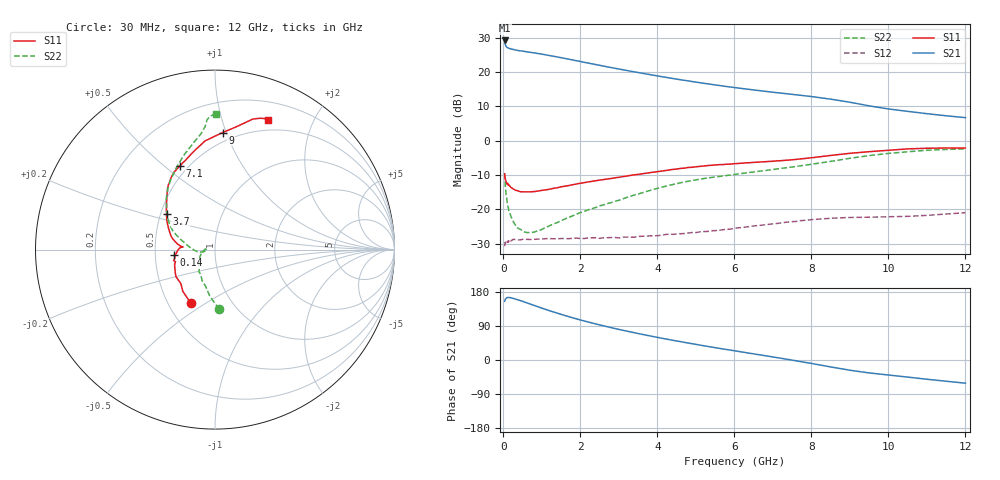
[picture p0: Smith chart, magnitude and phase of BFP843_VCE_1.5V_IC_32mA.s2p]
! Infineon Technologies  Discrete & RF Semiconductors
! BFP843
! VCE =  1.5 V,  IC =  32 mA
! Common Emitter S-Parameters:  Aug 2013
# GHz  S  MA  R  50
!  f  S11  S21  S12  S22
! GHz  MAG  ANG  MAG  ANG  MAG  ANG  MAG  ANG
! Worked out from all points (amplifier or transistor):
!   103 points, 30 MHz to 12 GHz, reference 50 ohm
!   highest |S21| = 29.2 dB at 30 MHz (marker M1)
!   |S21| within 3 dB of that: start of sweep to 424.4 MHz
!   unconditionally stable (mu >= 1): 90.43 MHz to 10.66 GHz
!   at 400 MHz: K = 1.03, MAG = 26.4 dB, |S12| = -28.9 dB
!   at 3.7 GHz: K = 1.36, MAG = 20.1 dB, |S12| = -27.8 dB
!   at 12 GHz: K = 0.86, MSG = 13.8 dB, |S12| = -21.0 dB
!   S11 on the Smith chart (normalised r, x): 30 MHz: 0.65, -0.44; 140 MHz: 0.63, -0.04; 3.7 GHz: 0.54, +0.24; 7.1 GHz: 0.45, +0.57; 9 GHz: 0.43, +0.97; 12 GHz: 0.38, +1.42
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0.03  0.3287 -114.0  28.68 155.2  0.0291 23.7  0.3335 -86.0
0.04  0.2935 -127.6  26.18 157.5  0.0323 23.4  0.2607 -96.4
0.05  0.2684 -135.2  24.89 160.7  0.0332 21.9  0.2102 -104.6
0.07  0.2524 -151.7  23.37 163.1  0.0311 14.9  0.1609 -119.4
0.1  0.2304 -163.0  22.61 164.7  0.0338 9.8  0.123 -137.7
0.14  0.229 -172.0  22.09 164.9  0.0342 7.5  0.0961 -150.8
0.3  0.1907 176.5  20.9 161.3  0.0364 9.7  0.0604 -177.0
0.7  0.1797 175.1  19.26 147.4  0.0364 4.5  0.0458 179.7
1.1  0.1919 174.1  17.7 133.4  0.0375 4.8  0.0548 -171.5
1.6  0.2172 170.2  15.7 117.3  0.0376 5.3  0.0725 -169.0
2.1  0.2449 165.2  13.79 102.9  0.0376 6.6  0.0933 -173.1
2.5  0.2662 160.0  12.46 92.6  0.0378 7.5  0.1124 -177.1
2.9  0.2876 154.8  11.28 83.0  0.0389 8.5  0.1311 177.7
3.7  0.3346 143.7  9.352 65.7  0.0406 10.8  0.1807 166.2
4.1  0.3598 138.5  8.552 57.7  0.042 11.5  0.2094 161.8
5  0.4159 129.8  7.103 41.2  0.0459 13.5  0.2686 154.2
6.1  0.4651 122.2  5.823 22.7  0.0539 14.2  0.3272 144.3
7.1  0.5067 112.7  4.988 6.4  0.0622 11.5  0.3869 134.5
8.5  0.6083 95.2  4.012 -18.3  0.0741 1.8  0.4985 116.3
9  0.6534 86.3  3.618 -27.0  0.0761 -2.3  0.5531 108.4
10.5  0.7577 73.8  2.666 -45.1  0.079 -9.7  0.6875 94.6
12  0.7809 67.9  2.16 -61.2  0.0893 -16.5  0.7582 89.6
